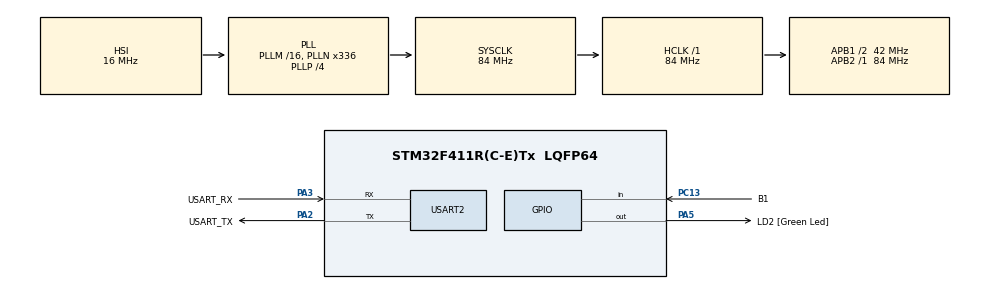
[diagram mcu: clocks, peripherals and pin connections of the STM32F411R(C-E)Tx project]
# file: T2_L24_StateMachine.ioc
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Mcu.Family=STM32F4
Mcu.Name=STM32F411R(C-E)Tx
Mcu.Package=LQFP64
NVIC.PriorityGroup=NVIC_PRIORITYGROUP_0
PA13.GPIO_Label=TMS
PA13.Mode=Serial_Wire
PA13.Signal=SYS_JTMS-SWDIO
PA14.GPIO_Label=TCK
PA14.Mode=Serial_Wire
PA14.Signal=SYS_JTCK-SWCLK
PA2.GPIO_Label=USART_TX
PA2.Mode=Asynchronous
PA2.Signal=USART2_TX
PA3.GPIO_Label=USART_RX
PA3.Mode=Asynchronous
PA3.Signal=USART2_RX
PA5.GPIO_Label=LD2 [Green Led]
PA5.Signal=GPIO_Output
PB3.GPIO_Label=SWO
PB3.Signal=SYS_JTDO-SWO
PC13-ANTI_TAMP.GPIO_Label=B1
PC13-ANTI_TAMP.Signal=GPIO_Input
PC14-OSC32_IN.Mode=LSE-External-Oscillator
PC14-OSC32_IN.Signal=RCC_OSC32_IN
PC15-OSC32_OUT.Mode=LSE-External-Oscillator
PC15-OSC32_OUT.Signal=RCC_OSC32_OUT
PH0\ -\ OSC_IN.Mode=HSE-External-Clock-Source
PH0\ -\ OSC_IN.Signal=RCC_OSC_IN
PH1\ -\ OSC_OUT.Mode=HSE-External-Clock-Source
PH1\ -\ OSC_OUT.Signal=RCC_OSC_OUT
ProjectManager.HeapSize=0x200
ProjectManager.StackSize=0x400
ProjectManager.TargetToolchain=STM32CubeIDE
RCC.48MHZClocksFreq_Value=84000000
RCC.AHBFreq_Value=84000000
RCC.APB1CLKDivider=RCC_HCLK_DIV2
RCC.APB1Freq_Value=42000000
RCC.APB1TimFreq_Value=84000000
RCC.APB2Freq_Value=84000000
RCC.APB2TimFreq_Value=84000000
RCC.CortexFreq_Value=84000000
RCC.FLatency-AdvancedSettings=FLASH_LATENCY_2
RCC.HCLKFreq_Value=84000000
RCC.HSE_VALUE=8000000
RCC.HSI_VALUE=16000000
RCC.PLLN=336
RCC.PLLP=RCC_PLLP_DIV4
RCC.SYSCLKFreq_VALUE=84000000
RCC.SYSCLKSource=RCC_SYSCLKSOURCE_PLLCLK
RCC.VCOOutputFreq_Value=336000000
USART2.VirtualMode=VM_ASYNC
board=NUCLEO-F411RE

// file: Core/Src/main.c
/* USER CODE BEGIN Header */
/**
  ******************************************************************************
  * @file           : main.c
  * @brief          : Main program body
  ******************************************************************************
  * @attention
  *
  * <h2><center>&copy; Copyright (c) 2020 STMicroelectronics.
  * All rights reserved.</center></h2>
  *
  * This software component is licensed by ST under BSD 3-Clause license,
  * the "License"; You may not use this file except in compliance with the
  * License. You may obtain a copy of the License at:
  *                        opensource.org/licenses/BSD-3-Clause
  *
  ******************************************************************************
  */
/* USER CODE END Header */
#include "main.h"
#include "usart.h"
#include "gpio.h"

/* USER CODE BEGIN Includes */
#include "button.h"
/* USER CODE END Includes */

/* USER CODE BEGIN PV */
extern TButton BlueKey;
/* USER CODE END PV */

void SystemClock_Config(void);
/* USER CODE BEGIN PFP */
void TurnOnLed(void);
void TurnOffLed(void);
void ToggleLed(void);
void BlinkGoogbyeLed(void);
/* USER CODE END PFP */

int main(void)
{

  /* MCU Configuration--------------------------------------------------------*/

  /* Reset of all peripherals, Initializes the Flash interface and the Systick. */
  HAL_Init();

  /* Configure the system clock */
  SystemClock_Config();

  /* Initialize all configured peripherals */
  MX_GPIO_Init();
  MX_USART2_UART_Init();
  /* USER CODE BEGIN 2 */

  ButtonInitKey(&BlueKey, B1_GPIO_Port, B1_Pin, 10, 30, 2000, 500, 50);
  ButtonRegisterPressCallback(&BlueKey, TurnOnLed);
  ButtonRegisterLongPressCallback(&BlueKey, TurnOffLed);
  ButtonRegisterRepeatPressCallback(&BlueKey, ToggleLed);
  ButtonRegisterReleaseCallback(&BlueKey, BlinkGoogbyeLed);
  /* USER CODE END 2 */

  /* Infinite loop */
  /* USER CODE BEGIN WHILE */
  while (1)
  {
	  ButtonTask(&BlueKey);
    /* USER CODE END WHILE */

  }
}

void SystemClock_Config(void)
{
  RCC_OscInitTypeDef RCC_OscInitStruct = {0};
  RCC_ClkInitTypeDef RCC_ClkInitStruct = {0};

  /** Configure the main internal regulator output voltage
  */
  __HAL_RCC_PWR_CLK_ENABLE();
  __HAL_PWR_VOLTAGESCALING_CONFIG(PWR_REGULATOR_VOLTAGE_SCALE1);
  /** Initializes the RCC Oscillators according to the specified parameters
  * in the RCC_OscInitTypeDef structure.
  */
  RCC_OscInitStruct.OscillatorType = RCC_OSCILLATORTYPE_HSI;
  RCC_OscInitStruct.HSIState = RCC_HSI_ON;
  RCC_OscInitStruct.HSICalibrationValue = RCC_HSICALIBRATION_DEFAULT;
  RCC_OscInitStruct.PLL.PLLState = RCC_PLL_ON;
  RCC_OscInitStruct.PLL.PLLSource = RCC_PLLSOURCE_HSI;
  RCC_OscInitStruct.PLL.PLLM = 16;
  RCC_OscInitStruct.PLL.PLLN = 336;
  RCC_OscInitStruct.PLL.PLLP = RCC_PLLP_DIV4;
  RCC_OscInitStruct.PLL.PLLQ = 4;
  if (HAL_RCC_OscConfig(&RCC_OscInitStruct) != HAL_OK)
  {
    Error_Handler();
  }
  /** Initializes the CPU, AHB and APB buses clocks
  */
  RCC_ClkInitStruct.ClockType = RCC_CLOCKTYPE_HCLK|RCC_CLOCKTYPE_SYSCLK
                              |RCC_CLOCKTYPE_PCLK1|RCC_CLOCKTYPE_PCLK2;
  RCC_ClkInitStruct.SYSCLKSource = RCC_SYSCLKSOURCE_PLLCLK;
  RCC_ClkInitStruct.AHBCLKDivider = RCC_SYSCLK_DIV1;
  RCC_ClkInitStruct.APB1CLKDivider = RCC_HCLK_DIV2;
  RCC_ClkInitStruct.APB2CLKDivider = RCC_HCLK_DIV1;

  if (HAL_RCC_ClockConfig(&RCC_ClkInitStruct, FLASH_LATENCY_2) != HAL_OK)
  {
    Error_Handler();
  }
}

/* USER CODE BEGIN 4 */
void TurnOnLed(void)
{
	HAL_GPIO_WritePin(LD2_GPIO_Port, LD2_Pin, GPIO_PIN_SET);
}

void TurnOffLed(void)
{
	HAL_GPIO_WritePin(LD2_GPIO_Port, LD2_Pin, GPIO_PIN_RESET);
}

void ToggleLed(void)
{
	HAL_GPIO_TogglePin(LD2_GPIO_Port, LD2_Pin);
}

void BlinkGoogbyeLed(void)
{
	 for (int i = 1; i < 11; ++i)
	  {
		 HAL_Delay(50);
		 HAL_GPIO_TogglePin(LD2_GPIO_Port, LD2_Pin);
	  }

	HAL_GPIO_WritePin(LD2_GPIO_Port, LD2_Pin, GPIO_PIN_RESET);
}
/* USER CODE END 4 */

void Error_Handler(void)
{
}

/************************ (C) COPYRIGHT STMicroelectronics *****END OF FILE****/
